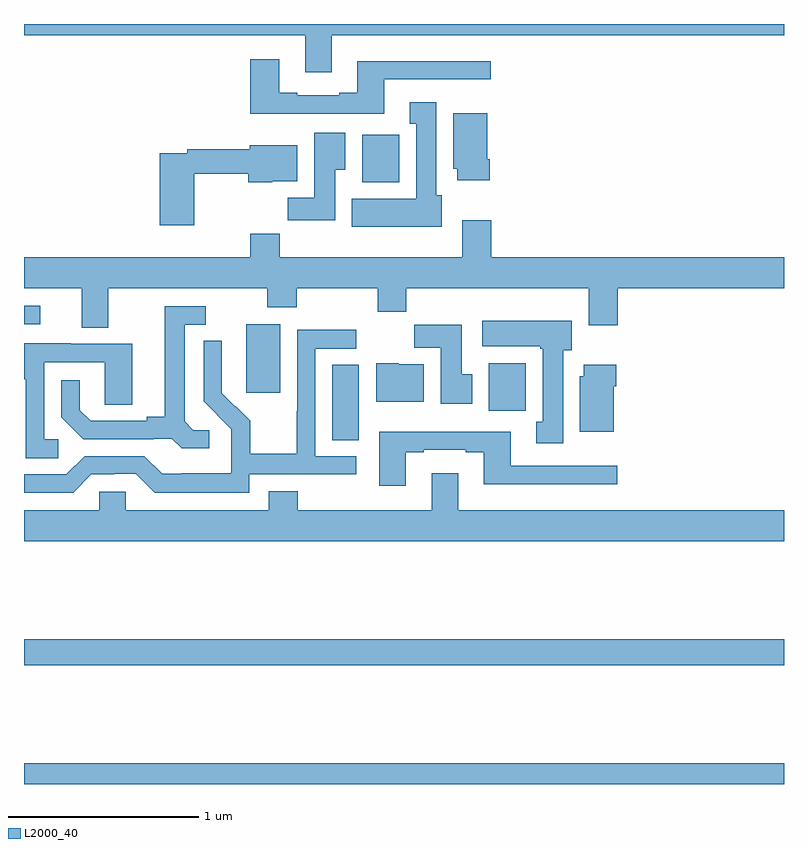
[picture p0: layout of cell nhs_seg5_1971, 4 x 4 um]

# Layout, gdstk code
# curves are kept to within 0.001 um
import gdstk
lib = gdstk.Library(unit=1e-6, precision=1e-09)
def R(c, l, rs):  # rectangles x0, y0, x1, y1
    for r in rs: c.add(gdstk.rectangle(r[:2], r[2:], *l))
def P(c, l, *ps):  # polygons
    for p in ps: c.add(gdstk.Polygon(p, *l))
L2000_40 = (2000, 40)

nhs_seg5_1971 = lib.new_cell('nhs_seg5_1971')
R(nhs_seg5_1971, L2000_40, [(227,872.799,231,872.908), (227,873.424,231,873.56), (228.623,874.609,228.763,875.006), (229.445,874.764,229.641,875.014), (228.17,874.857,228.349,875.218), (227,875.22,227.086,875.316), (228.779,875.966,228.975,876.217)])
P(nhs_seg5_1971, L2000_40, [(228.619,876.74),(231,876.74),(231,876.799),(227,876.799),(227,876.74),(228.479,876.74),(228.479,876.546),(228.619,876.546)],
  [(228.431,876.327),(228.895,876.327),(228.895,876.507),(229.456,876.507),(229.456,876.604),(228.755,876.604),(228.755,876.436),(228.659,876.436),(228.659,876.423),(228.439,876.423),(228.439,876.436),(228.343,876.436),(228.343,876.613),(228.191,876.613),(228.191,876.326),(228.431,876.326)],
  [(229.198,875.898),(229.171,875.898),(229.171,876.388),(229.031,876.388),(229.031,876.275),(229.064,876.275),(229.064,875.878),(228.725,875.878),(228.725,875.732),(229.198,875.732)],
  [(229.451,876.088),(229.438,876.088),(229.438,876.328),(229.259,876.328),(229.259,876.036),(229.28,876.036),(229.28,875.976),(229.451,875.976)],
  [(228.637,876.032),(228.691,876.032),(228.691,876.226),(228.527,876.226),(228.527,875.884),(228.388,875.884),(228.388,875.766),(228.637,875.766)],
  [(227.897,876.012),(228.181,876.012),(228.181,875.966),(228.306,875.966),(228.306,875.972),(228.439,875.972),(228.439,876.16),(228.188,876.16),(228.188,876.14),(227.86,876.14),(227.86,876.12),(227.714,876.12),(227.714,875.739),(227.897,875.739)],
  [(227.443,875.408),(228.28,875.408),(228.28,875.309),(228.435,875.309),(228.435,875.408),(228.862,875.408),(228.862,875.284),(229.013,875.284),(229.013,875.408),(229.973,875.408),(229.973,875.214),(230.126,875.214),(230.126,875.408),(231,875.408),(231,875.572),(229.46,875.572),(229.46,875.767),(229.307,875.767),(229.307,875.572),(228.347,875.572),(228.347,875.696),(228.191,875.696),(228.191,875.572),(227,875.572),(227,875.408),(227.303,875.408),(227.303,875.2),(227.443,875.2)],
  [(227.974,874.662),(227.892,874.662),(227.845,874.709),(227.845,875.217),(227.956,875.217),(227.956,875.313),(227.741,875.313),(227.741,874.733),(227.645,874.733),(227.645,874.71),(227.35,874.71),(227.293,874.767),(227.293,874.924),(227.196,874.924),(227.196,874.73),(227.312,874.614),(227.684,874.614),(227.684,874.617),(227.778,874.617),(227.83,874.565),(227.974,874.565)],
  [(229.837,875.082),(229.882,875.082),(229.882,875.236),(229.413,875.236),(229.413,875.102),(229.717,875.102),(229.717,875.089),(229.73,875.089),(229.73,874.705),(229.697,874.705),(229.697,874.593),(229.837,874.593)],
  [(229.36,874.956),(229.303,874.956),(229.303,875.215),(229.054,875.215),(229.054,875.096),(229.193,875.096),(229.193,874.8),(229.36,874.8)],
  [(228.186,874.428),(228.748,874.428),(228.748,874.524),(228.534,874.524),(228.534,875.091),(228.748,875.091),(228.748,875.19),(228.438,875.19),(228.438,874.76),(228.436,874.76),(228.436,874.537),(228.191,874.537),(228.191,874.711),(228.114,874.788),(228.111,874.785),(228.041,874.856),(228.042,875.132),(227.946,875.132),(227.946,874.814),(228.092,874.666),(228.092,874.569),(228.09,874.569),(228.09,874.435),(227.827,874.435),(227.827,874.431),(227.727,874.431),(227.634,874.524),(227.319,874.524),(227.223,874.428),(227,874.428),(227,874.332),(227.259,874.332),(227.355,874.428),(227.474,874.428),(227.474,874.431),(227.589,874.431),(227.689,874.331),(228.186,874.331)],
  [(227.179,874.614),(227.106,874.614),(227.106,875.019),(227.424,875.019),(227.424,874.795),(227.569,874.795),(227.569,875.115),(227.245,875.115),(227.245,875.119),(227,875.119),(227,874.929),(227.01,874.929),(227.01,874.513),(227.179,874.513)],
  [(229.105,875.008),(228.972,875.008),(228.972,875.014),(228.854,875.014),(228.854,874.811),(229.105,874.811)],
  [(230.104,874.892),(230.117,874.892),(230.117,875.005),(229.946,875.005),(229.946,874.944),(229.925,874.944),(229.925,874.652),(230.104,874.652)],
  [(229.009,874.545),(229.105,874.545),(229.105,874.557),(229.325,874.557),(229.325,874.545),(229.421,874.545),(229.421,874.376),(230.122,874.376),(230.122,874.473),(229.561,874.473),(229.561,874.654),(228.869,874.654),(228.869,874.368),(229.009,874.368)],
  [(231,874.24),(229.285,874.24),(229.285,874.435),(229.145,874.435),(229.145,874.24),(228.44,874.24),(228.44,874.339),(228.287,874.339),(228.287,874.24),(227.535,874.24),(227.535,874.338),(227.397,874.338),(227.397,874.24),(227,874.24),(227,874.076),(231,874.076)])

lib.write_gds('nhs_seg5_1971.gds')
